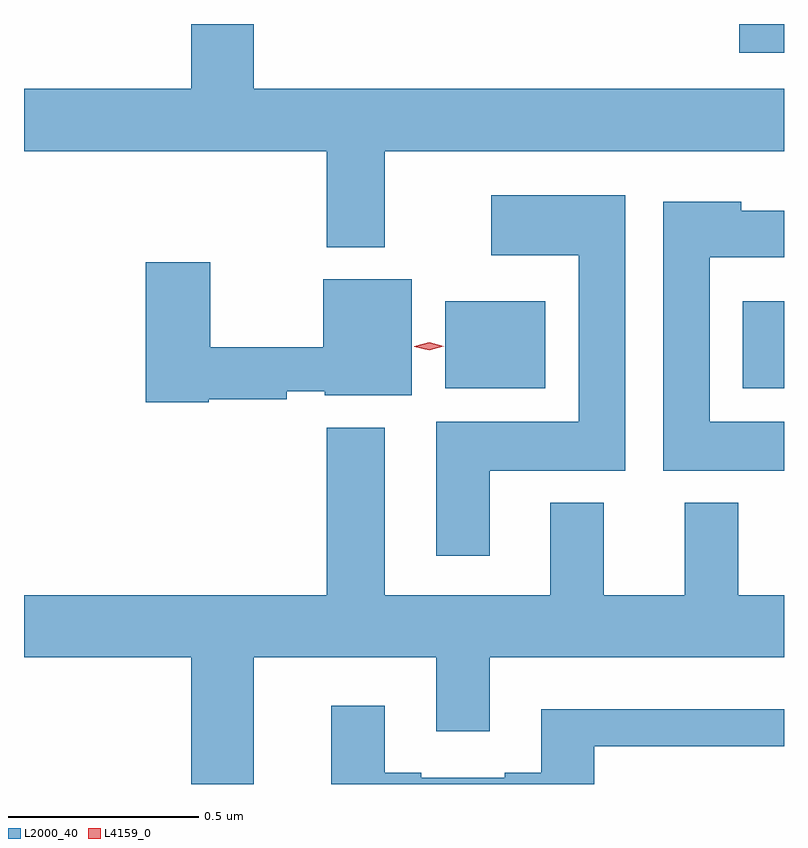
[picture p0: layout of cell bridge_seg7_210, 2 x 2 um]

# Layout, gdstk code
import gdstk
lib = gdstk.Library(unit=1e-6, precision=1e-09)
def R(c, l, rs):  # rectangles x0, y0, x1, y1
    for r in rs: c.add(gdstk.rectangle(r[:2], r[2:], *l))
def P(c, l, *ps):  # polygons
    for p in ps: c.add(gdstk.Polygon(p, *l))
L2000_40 = (2000, 40)
L4159_0 = (4159, 0)

bridge_seg7_210 = lib.new_cell('bridge_seg7_210')
R(bridge_seg7_210, L2000_40, [(225.617,1015.976,225.88,1016.206), (226.4,1015.976,226.508,1016.206), (226.39,1016.859,226.508,1016.935)])
P(bridge_seg7_210, L2000_40, [(225.457,1016.6),(226.508,1016.6),(226.508,1016.764),(225.112,1016.764),(225.112,1016.935),(224.948,1016.935),(224.948,1016.764),(224.508,1016.764),(224.508,1016.6),(225.305,1016.6),(225.305,1016.348),(225.457,1016.348)],
  [(225.733,1015.76),(226.09,1015.76),(226.09,1016.485),(225.738,1016.485),(225.738,1016.327),(225.968,1016.327),(225.968,1015.888),(225.593,1015.888),(225.593,1015.536),(225.733,1015.536)],
  [(226.508,1015.888),(226.312,1015.888),(226.312,1016.321),(226.508,1016.321),(226.508,1016.443),(226.395,1016.443),(226.395,1016.467),(226.19,1016.467),(226.19,1015.76),(226.508,1015.76)],
  [(224.994,1015.948),(225.2,1015.948),(225.2,1015.968),(225.3,1015.968),(225.3,1015.958),(225.529,1015.958),(225.529,1016.263),(225.296,1016.263),(225.296,1016.084),(224.998,1016.084),(224.998,1016.308),(224.828,1016.308),(224.828,1015.94),(224.994,1015.94)],
  [(225.112,1015.268),(225.593,1015.268),(225.593,1015.074),(225.733,1015.074),(225.733,1015.268),(226.508,1015.268),(226.508,1015.432),(226.387,1015.432),(226.387,1015.675),(226.247,1015.675),(226.247,1015.432),(226.033,1015.432),(226.033,1015.675),(225.893,1015.675),(225.893,1015.432),(225.457,1015.432),(225.457,1015.873),(225.305,1015.873),(225.305,1015.432),(224.508,1015.432),(224.508,1015.268),(224.948,1015.268),(224.948,1014.935),(225.112,1014.935)],
  [(226.009,1015.035),(226.508,1015.035),(226.508,1015.132),(225.869,1015.132),(225.869,1014.964),(225.773,1014.964),(225.773,1014.951),(225.553,1014.951),(225.553,1014.964),(225.457,1014.964),(225.457,1015.141),(225.317,1015.141),(225.317,1014.935),(226.009,1014.935)])
P(bridge_seg7_210, L4159_0, [(225.574,1016.077),(225.535,1016.086),(225.535,1016.087),(225.535,1016.087),(225.574,1016.097),(225.612,1016.087),(225.612,1016.087),(225.612,1016.087)])

lib.write_gds('bridge_seg7_210.gds')
